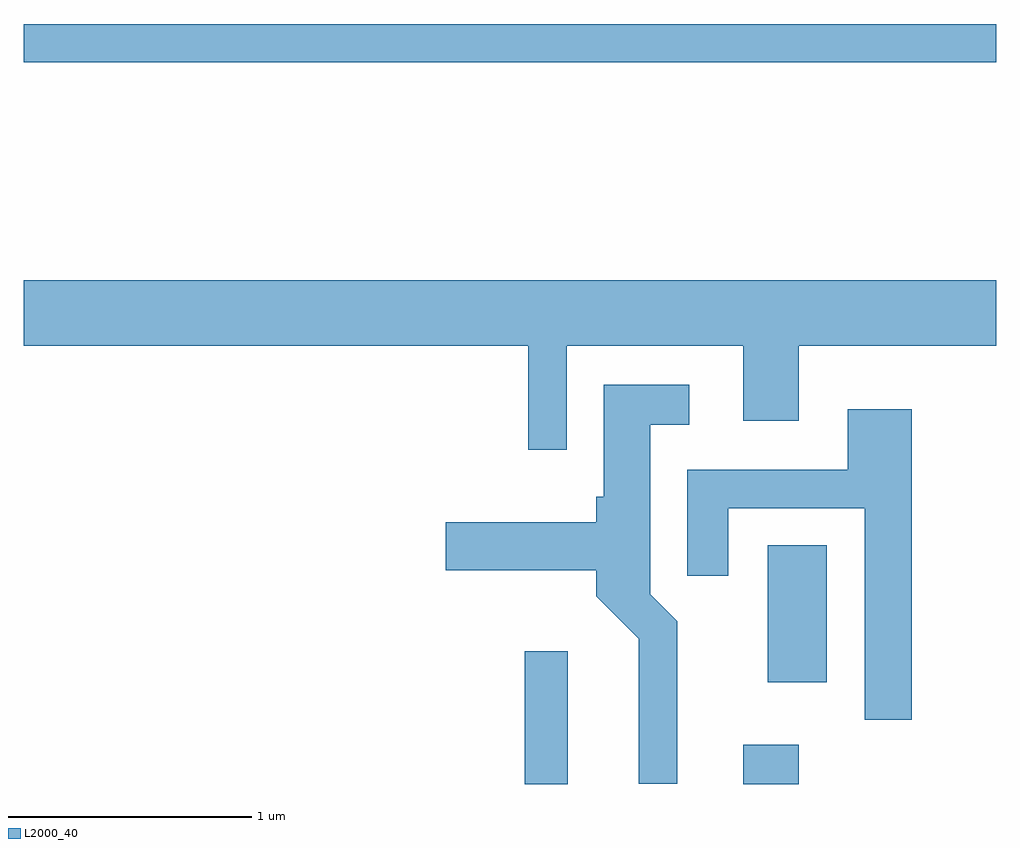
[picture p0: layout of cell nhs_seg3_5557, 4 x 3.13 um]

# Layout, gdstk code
import gdstk
lib = gdstk.Library(unit=1e-6, precision=1e-09)
def R(c, l, rs):  # rectangles x0, y0, x1, y1
    for r in rs: c.add(gdstk.rectangle(r[:2], r[2:], *l))
def P(c, l, *ps):  # polygons
    for p in ps: c.add(gdstk.Polygon(p, *l))
L2000_40 = (2000, 40)

nhs_seg3_5557 = lib.new_cell('nhs_seg3_5557')
R(nhs_seg3_5557, L2000_40, [(349.671,1221.892,349.849,1222.439), (350.571,1221.892,350.799,1222.054), (350.671,1222.311,350.914,1222.874), (347.611,1224.861,351.611,1225.019)])
P(nhs_seg3_5557, L2000_40, [(349.844,1223.696),(350.571,1223.696),(350.571,1223.386),(350.799,1223.386),(350.799,1223.696),(351.611,1223.696),(351.611,1223.964),(347.611,1223.964),(347.611,1223.696),(349.686,1223.696),(349.686,1223.268),(349.844,1223.268)],
  [(350.299,1222.562),(350.189,1222.672),(350.189,1223.371),(350.348,1223.371),(350.348,1223.534),(349.996,1223.534),(349.996,1223.074),(349.966,1223.074),(349.966,1222.969),(349.346,1222.969),(349.346,1222.771),(349.966,1222.771),(349.966,1222.664),(350.141,1222.489),(350.141,1221.893),(350.299,1221.893)],
  [(351.264,1223.434),(351.001,1223.434),(351.001,1223.184),(350.341,1223.184),(350.341,1222.748),(350.509,1222.748),(350.509,1223.026),(351.071,1223.026),(351.071,1222.156),(351.264,1222.156)])

lib.write_gds('nhs_seg3_5557.gds')
